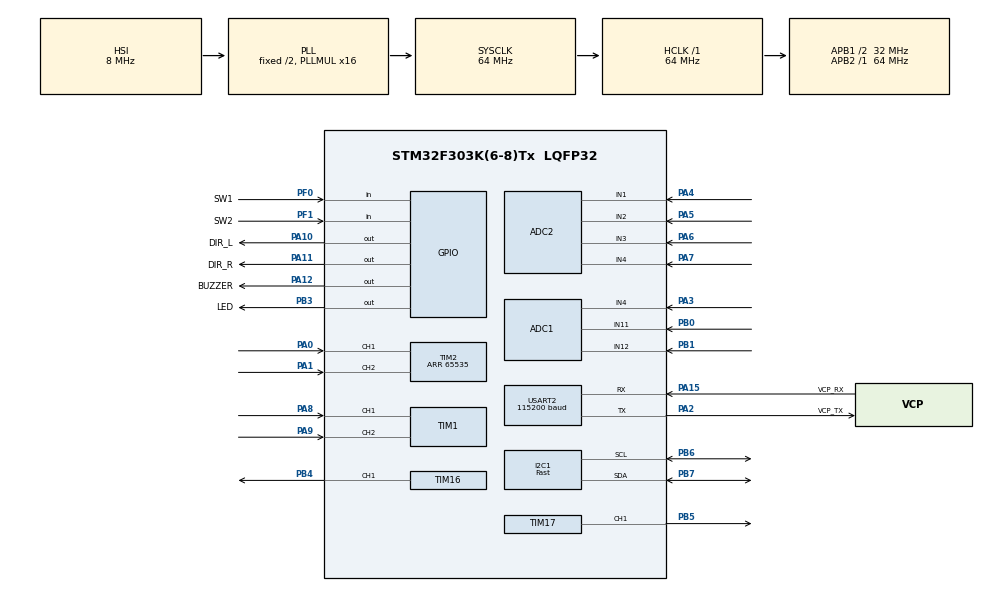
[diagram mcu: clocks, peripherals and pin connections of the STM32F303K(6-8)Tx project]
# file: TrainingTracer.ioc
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ADC1.Channel-0\#ChannelRegularConversion=ADC_CHANNEL_4
ADC1.Channel-1\#ChannelRegularConversion=ADC_CHANNEL_11
ADC1.Channel-2\#ChannelRegularConversion=ADC_CHANNEL_12
ADC1.ContinuousConvMode=DISABLE
ADC1.DMAContinuousRequests=ENABLE
ADC1.DiscontinuousConvMode=ENABLE
ADC1.ExternalTrigConv=ADC_EXTERNALTRIGCONV_T3_TRGO
ADC1.NbrOfConversion=3
ADC1.NbrOfConversionFlag=1
ADC1.NbrOfDiscConversion=3
ADC1.Offset-0\#ChannelRegularConversion=0
ADC1.Offset-1\#ChannelRegularConversion=0
ADC1.Offset-2\#ChannelRegularConversion=0
ADC1.OffsetNumber-0\#ChannelRegularConversion=ADC_OFFSET_NONE
ADC1.OffsetNumber-1\#ChannelRegularConversion=ADC_OFFSET_NONE
ADC1.OffsetNumber-2\#ChannelRegularConversion=ADC_OFFSET_NONE
ADC1.Rank-0\#ChannelRegularConversion=1
ADC1.Rank-1\#ChannelRegularConversion=2
ADC1.Rank-2\#ChannelRegularConversion=3
ADC1.SamplingTime-0\#ChannelRegularConversion=ADC_SAMPLETIME_4CYCLES_5
ADC1.SamplingTime-1\#ChannelRegularConversion=ADC_SAMPLETIME_4CYCLES_5
ADC1.SamplingTime-2\#ChannelRegularConversion=ADC_SAMPLETIME_4CYCLES_5
ADC1.SamplingTimeOPAMP-1\#ChannelRegularConversion=ADC_SAMPLETIME_61CYCLES_5
ADC1.SamplingTimeOPAMP-2\#ChannelRegularConversion=ADC_SAMPLETIME_61CYCLES_5
ADC1.SubFamily=STM32F303x8
ADC1.master=1
ADC2.Channel-0\#ChannelRegularConversion=ADC_CHANNEL_1
ADC2.Channel-1\#ChannelRegularConversion=ADC_CHANNEL_2
ADC2.Channel-2\#ChannelRegularConversion=ADC_CHANNEL_3
ADC2.Channel-3\#ChannelRegularConversion=ADC_CHANNEL_4
ADC2.DMAContinuousRequests=ENABLE
ADC2.DiscontinuousConvMode=ENABLE
ADC2.ExternalTrigConv=ADC_EXTERNALTRIGCONV_T3_TRGO
ADC2.NbrOfConversion=4
ADC2.NbrOfConversionFlag=1
ADC2.NbrOfDiscConversion=4
ADC2.Offset-0\#ChannelRegularConversion=0
ADC2.Offset-1\#ChannelRegularConversion=0
ADC2.Offset-2\#ChannelRegularConversion=0
ADC2.Offset-3\#ChannelRegularConversion=0
ADC2.OffsetNumber-0\#ChannelRegularConversion=ADC_OFFSET_NONE
ADC2.OffsetNumber-1\#ChannelRegularConversion=ADC_OFFSET_NONE
ADC2.OffsetNumber-2\#ChannelRegularConversion=ADC_OFFSET_NONE
ADC2.OffsetNumber-3\#ChannelRegularConversion=ADC_OFFSET_NONE
ADC2.Rank-0\#ChannelRegularConversion=1
ADC2.Rank-1\#ChannelRegularConversion=2
ADC2.Rank-2\#ChannelRegularConversion=3
ADC2.Rank-3\#ChannelRegularConversion=4
ADC2.SamplingTime-0\#ChannelRegularConversion=ADC_SAMPLETIME_4CYCLES_5
ADC2.SamplingTime-1\#ChannelRegularConversion=ADC_SAMPLETIME_4CYCLES_5
ADC2.SamplingTime-2\#ChannelRegularConversion=ADC_SAMPLETIME_4CYCLES_5
ADC2.SamplingTime-3\#ChannelRegularConversion=ADC_SAMPLETIME_4CYCLES_5
ADC2.SamplingTimeOPAMP-1\#ChannelRegularConversion=ADC_SAMPLETIME_61CYCLES_5
ADC2.SamplingTimeOPAMP-2\#ChannelRegularConversion=ADC_SAMPLETIME_61CYCLES_5
ADC2.SamplingTimeOPAMP-3\#ChannelRegularConversion=ADC_SAMPLETIME_61CYCLES_5
ADC2.SubFamily=STM32F303x8
Dma.ADC1.0.Direction=DMA_PERIPH_TO_MEMORY
Dma.ADC1.0.Instance=DMA1_Channel1
Dma.ADC1.0.MemDataAlignment=DMA_MDATAALIGN_HALFWORD
Dma.ADC1.0.MemInc=DMA_MINC_ENABLE
Dma.ADC1.0.Mode=DMA_CIRCULAR
Dma.ADC1.0.PeriphDataAlignment=DMA_PDATAALIGN_HALFWORD
Dma.ADC1.0.PeriphInc=DMA_PINC_DISABLE
Dma.ADC1.0.Priority=DMA_PRIORITY_LOW
Dma.ADC2.1.Direction=DMA_PERIPH_TO_MEMORY
Dma.ADC2.1.Instance=DMA1_Channel2
Dma.ADC2.1.MemDataAlignment=DMA_MDATAALIGN_HALFWORD
Dma.ADC2.1.MemInc=DMA_MINC_ENABLE
Dma.ADC2.1.Mode=DMA_CIRCULAR
Dma.ADC2.1.PeriphDataAlignment=DMA_PDATAALIGN_HALFWORD
Dma.ADC2.1.PeriphInc=DMA_PINC_DISABLE
Dma.ADC2.1.Priority=DMA_PRIORITY_LOW
Dma.I2C1_RX.2.Direction=DMA_PERIPH_TO_MEMORY
Dma.I2C1_RX.2.Instance=DMA1_Channel3
Dma.I2C1_RX.2.MemDataAlignment=DMA_MDATAALIGN_BYTE
Dma.I2C1_RX.2.MemInc=DMA_MINC_ENABLE
Dma.I2C1_RX.2.Mode=DMA_NORMAL
Dma.I2C1_RX.2.PeriphDataAlignment=DMA_PDATAALIGN_BYTE
Dma.I2C1_RX.2.PeriphInc=DMA_PINC_DISABLE
Dma.I2C1_RX.2.Priority=DMA_PRIORITY_LOW
Dma.I2C1_TX.3.Direction=DMA_MEMORY_TO_PERIPH
Dma.I2C1_TX.3.Instance=DMA1_Channel4
Dma.I2C1_TX.3.MemDataAlignment=DMA_MDATAALIGN_BYTE
Dma.I2C1_TX.3.MemInc=DMA_MINC_ENABLE
Dma.I2C1_TX.3.Mode=DMA_NORMAL
Dma.I2C1_TX.3.PeriphDataAlignment=DMA_PDATAALIGN_BYTE
Dma.I2C1_TX.3.PeriphInc=DMA_PINC_DISABLE
Dma.I2C1_TX.3.Priority=DMA_PRIORITY_LOW
Dma.Request0=ADC1
Dma.Request1=ADC2
Dma.Request2=I2C1_RX
Dma.Request3=I2C1_TX
I2C1.I2C_Speed_Mode=I2C_Fast
I2C1.Timing=0x0000020B
Mcu.Family=STM32F3
Mcu.Name=STM32F303K(6-8)Tx
Mcu.Package=LQFP32
NVIC.DMA1_Channel1_IRQn=true\:0\:0\:false\:false\:true\:false\:true\:true
NVIC.DMA1_Channel2_IRQn=true\:0\:0\:false\:false\:true\:false\:true\:true
NVIC.DMA1_Channel3_IRQn=true\:0\:0\:false\:false\:true\:false\:true\:true
NVIC.DMA1_Channel4_IRQn=true\:0\:0\:false\:false\:true\:false\:true\:true
NVIC.I2C1_EV_IRQn=true\:0\:0\:false\:false\:true\:true\:true\:true
NVIC.PriorityGroup=NVIC_PRIORITYGROUP_4
NVIC.TIM6_DAC1_IRQn=true\:0\:0\:false\:false\:true\:true\:true\:true
NVIC.TIM7_DAC2_IRQn=true\:0\:0\:false\:false\:true\:true\:true\:true
PA0.Signal=S_TIM2_CH1_ETR
PA1.Signal=S_TIM2_CH2
PA10.GPIO_Label=DIR_L
PA10.Signal=GPIO_Output
PA11.GPIO_Label=DIR_R
PA11.Signal=GPIO_Output
PA12.GPIO_Label=BUZZER
PA12.Signal=GPIO_Output
PA13.GPIO_Label=SWDIO
PA13.Mode=Serial_Wire
PA13.Signal=SYS_JTMS-SWDIO
PA14.GPIO_Label=SWCLK
PA14.Mode=Serial_Wire
PA14.Signal=SYS_JTCK-SWCLK
PA15.GPIO_Label=VCP_RX
PA15.Mode=Asynchronous
PA15.Signal=USART2_RX
PA2.GPIO_Label=VCP_TX
PA2.Mode=Asynchronous
PA2.Signal=USART2_TX
PA3.Mode=IN4-Single-Ended
PA3.Signal=ADC1_IN4
PA4.Mode=IN1-Single-Ended
PA4.Signal=ADC2_IN1
PA5.Mode=IN2-Single-Ended
PA5.Signal=ADC2_IN2
PA6.Mode=IN3-Single-Ended
PA6.Signal=ADC2_IN3
PA7.Mode=IN4-Single-Ended
PA7.Signal=ADC2_IN4
PA8.Signal=S_TIM1_CH1
PA9.Signal=S_TIM1_CH2
PB0.Mode=IN11-Single-Ended
PB0.Signal=ADC1_IN11
PB1.Mode=IN12-Single-Ended
PB1.Signal=ADC1_IN12
PB3.GPIO_Label=LED
PB3.Signal=GPIO_Output
PB4.Signal=S_TIM16_CH1
PB5.Signal=S_TIM17_CH1
PB6.Mode=I2C
PB6.Signal=I2C1_SCL
PB7.Mode=I2C
PB7.Signal=I2C1_SDA
PF0\ /\ OSC_IN.GPIO_Label=SW1
PF0\ /\ OSC_IN.GPIO_PuPd=GPIO_PULLUP
PF0\ /\ OSC_IN.Signal=GPIO_Input
PF1\ /\ OSC_OUT.GPIO_Label=SW2
PF1\ /\ OSC_OUT.GPIO_PuPd=GPIO_PULLUP
PF1\ /\ OSC_OUT.Signal=GPIO_Input
ProjectManager.HeapSize=0x200
ProjectManager.StackSize=0x400
ProjectManager.TargetToolchain=STM32CubeIDE
RCC.AHBFreq_Value=64000000
RCC.APB1CLKDivider=RCC_HCLK_DIV2
RCC.APB1Freq_Value=32000000
RCC.APB1TimFreq_Value=64000000
RCC.APB2Freq_Value=64000000
RCC.APB2TimFreq_Value=64000000
RCC.CortexFreq_Value=64000000
RCC.HCLKFreq_Value=64000000
RCC.HSE_VALUE=8000000
RCC.HSI_VALUE=8000000
RCC.PLLMUL=RCC_PLL_MUL16
RCC.SYSCLKFreq_VALUE=64000000
RCC.SYSCLKSourceVirtual=RCC_SYSCLKSOURCE_PLLCLK
SH.S_TIM16_CH1.0=TIM16_CH1,PWM Generation1 CH1
SH.S_TIM17_CH1.0=TIM17_CH1,PWM Generation1 CH1
SH.S_TIM1_CH1.0=TIM1_CH1,Encoder_Interface
SH.S_TIM1_CH2.0=TIM1_CH2,Encoder_Interface
SH.S_TIM2_CH1_ETR.0=TIM2_CH1,Encoder_Interface
SH.S_TIM2_CH2.0=TIM2_CH2,Encoder_Interface
TIM1.EncoderMode=TIM_ENCODERMODE_TI12
TIM16.AutoReloadPreload=TIM_AUTORELOAD_PRELOAD_ENABLE
TIM16.Channel=TIM_CHANNEL_1
TIM16.Period=3199
TIM16.Prescaler=0
TIM16.Pulse=0
TIM17.AutoReloadPreload=TIM_AUTORELOAD_PRELOAD_ENABLE
TIM17.Channel=TIM_CHANNEL_1
TIM17.Period=3199
TIM17.Prescaler=0
TIM17.Pulse=0
TIM2.EncoderMode=TIM_ENCODERMODE_TI12
TIM2.Period=65535
TIM3.AutoReloadPreload=TIM_AUTORELOAD_PRELOAD_ENABLE
TIM3.Period=999
TIM3.Prescaler=63
TIM3.TIM_MasterOutputTrigger=TIM_TRGO_UPDATE
TIM6.AutoReloadPreload=TIM_AUTORELOAD_PRELOAD_ENABLE
TIM6.Period=499
TIM6.Prescaler=63
TIM7.Period=9999
TIM7.Prescaler=63
USART2.BaudRate=115200
USART2.VirtualMode-Asynchronous=VM_ASYNC
VP_TIM16_VS_ClockSourceINT.Mode=Enable_Timer
VP_TIM17_VS_ClockSourceINT.Mode=Enable_Timer
VP_TIM3_VS_ClockSourceINT.Mode=Internal
VP_TIM6_VS_ClockSourceINT.Mode=Enable_Timer
VP_TIM7_VS_ClockSourceINT.Mode=Enable_Timer
board=NUCLEO-F303K8

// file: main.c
/* USER CODE BEGIN Header */
/**
  ******************************************************************************
  * @file           : main.c
  * @brief          : Main program body
  ******************************************************************************
  * @attention
  *
  * Copyright (c) 2020 RT Corporation
  * License: Apache License, Version 2.0
  * https://www.apache.org/licenses/LICENSE-2.0
  *
  * This file is licensed the Apache License, Version 2.0.
  * This file is based on the auto generated template .c file
  * released by STMicroelectronics licensed under the BSD 3-Clause License.
  *
  *=*=*=*=*=*=*=*=*=*=*=*=*=*=*=*=*=*=*=*=*=*=*=*=*=*=*=*=*=*=*=*=*=*=*=*=*=*=*
  * <h2><center>&copy; Copyright (c) 2020 STMicroelectronics.
  * All rights reserved.</center></h2>
  *
  * This software component is licensed by ST under BSD 3-Clause license,
  * the "License"; You may not use this file except in compliance with the
  * License. You may obtain a copy of the License at:
  *                        opensource.org/licenses/BSD-3-Clause
  *=*=*=*=*=*=*=*=*=*=*=*=*=*=*=*=*=*=*=*=*=*=*=*=*=*=*=*=*=*=*=*=*=*=*=*=*=*=*
  *
  ******************************************************************************
  */
/* USER CODE END Header */
#include "main.h"

/* USER CODE BEGIN Includes */
#include "BMX055.h"
#include "stdio.h"
#include "stdlib.h"
/* USER CODE END Includes */

/* USER CODE BEGIN PD */
#define CW_R 0
#define CCW_R 1
#define CW_L 1
#define CCW_L 0
/* USER CODE END PD */

ADC_HandleTypeDef hadc1;
ADC_HandleTypeDef hadc2;
DMA_HandleTypeDef hdma_adc1;
DMA_HandleTypeDef hdma_adc2;

I2C_HandleTypeDef hi2c1;
DMA_HandleTypeDef hdma_i2c1_rx;
DMA_HandleTypeDef hdma_i2c1_tx;

TIM_HandleTypeDef htim1;
TIM_HandleTypeDef htim2;
TIM_HandleTypeDef htim3;
TIM_HandleTypeDef htim6;
TIM_HandleTypeDef htim7;
TIM_HandleTypeDef htim16;
TIM_HandleTypeDef htim17;

UART_HandleTypeDef huart2;

void SystemClock_Config(void);
static void MX_GPIO_Init(void);
static void MX_DMA_Init(void);
static void MX_USART2_UART_Init(void);
static void MX_ADC1_Init(void);
static void MX_ADC2_Init(void);
static void MX_I2C1_Init(void);
static void MX_TIM1_Init(void);
static void MX_TIM2_Init(void);
static void MX_TIM16_Init(void);
static void MX_TIM17_Init(void);
static void MX_TIM3_Init(void);
static void MX_TIM6_Init(void);
static void MX_TIM7_Init(void);

/* USER CODE BEGIN 0 */
// Variable Declaration
long line_control;
short inside_offset = 0;
short outside_offset = 0;
short l2_value = 0;
short l1_value = 0;
short r1_value = 0;
short r2_value = 0;
short ml_value = 0;
short mr_value = 0;
short pw_value = 0;

char line_state = 0;
unsigned short encoder_r_cnt = 0;
unsigned short encoder_l_cnt = 0;

short pwm_r_value = 0;
short pwm_l_value = 0;

unsigned char I2C_state = 0;
short ADC1_data[10];
short ADC2_data[10];
short zGyro = 0;
float theta = 0;

short buzzer_it_cnt;
short buzzer_it_h_ms_cnt;
short buzzer_it_l_ms_cnt;
short buzzer_it_h_ms;
short buzzer_it_l_ms;

int __io_putchar(int ch)
{
  HAL_UART_Transmit(&huart2, (uint8_t *)&ch, 1, 0xFFFF);
  return ch;
}

void LED_Drive(char times, int high_ms, int low_ms)
{
  for (char i = 0; i < times; i++) {
    HAL_GPIO_WritePin(LED_GPIO_Port, LED_Pin, 1);
    HAL_Delay(high_ms);
    HAL_GPIO_WritePin(LED_GPIO_Port, LED_Pin, 0);
    HAL_Delay(low_ms);
  }
}

void Buzzer_Drive(char times, int high_ms, int low_ms)
{
  for (char i = 0; i < times; i++) {
    HAL_GPIO_WritePin(BUZZER_GPIO_Port, BUZZER_Pin, 1);  // ring buzzer
    HAL_Delay(100);                                      // wait for time
    HAL_GPIO_WritePin(BUZZER_GPIO_Port, BUZZER_Pin, 0);  // stop buzzer
    HAL_Delay(100);                                      // wait for time
  }
}

void Buzzer_Drive_IT(char times, int high_ms, int low_ms)
{
  buzzer_it_cnt = times;
  buzzer_it_h_ms = high_ms;
  buzzer_it_l_ms = low_ms;
  buzzer_it_h_ms_cnt = 0;
  buzzer_it_l_ms_cnt = 0;
}

int MarkerCheck(void)
{
  if (
    (mr_value > (r2_value * 0.169 + 2.7488 + 30)) &&
    (mr_value > 90)) {  //start-goal marker detection
    if (line_state == 0) {
      line_state = 1;
      return 1;
    } else if (line_state == 1) {
      line_state = 2;
      return 2;
    } else if (line_state == 2) {
      return 2;
    } else if (line_state == 3) {
      line_state = 7;
      return 7;
    } else if (line_state == 4) {
      line_state = 6;
      return 6;
    } else if (line_state == 5) {
      line_state = 6;
      return 6;
    } else if (line_state == 6) {
      line_state = 6;
      return 6;
    }
  }

  if (line_state == 1) {
    line_state = 3;
    return 3;
  }

  if (line_state == 2) {
    line_state = 3;
    return 3;
  }

  if (line_state == 6) {
    line_state = 3;
    return 3;
  }

  if (line_state == 3) {
    if ((r2_value + r1_value + l1_value + l2_value) > 2500) {  //cross line
      line_state = 4;                                          //cross line detection
      HAL_GPIO_WritePin(LED_GPIO_Port, LED_Pin, 1);
      return 4;
    }
  }
  if (line_state == 4) {
    if ((r2_value + r1_value + l1_value + l2_value) < 2000) {
      line_state = 5;
      HAL_GPIO_WritePin(LED_GPIO_Port, LED_Pin, 0);
      return 5;
    }
  }

  return line_state;
}

void HAL_TIM_PeriodElapsedCallback(TIM_HandleTypeDef * htim)
{
  if (htim == &htim6) {  //2kHz
    if ((I2C_state % 2) == 0) {
      zGyro = I2C1_BMX055_GetGyro16();
      theta = theta + (float)zGyro / 1000.0 / 16.4;
      I2C1_BMX055_zGyro();
    } else {
      I2C1_Read_NBytes(BMX055_Addr_Gyro, 2);
      //buzzer process
      if (buzzer_it_cnt > 0) {
        if (buzzer_it_h_ms_cnt < buzzer_it_h_ms) {
          HAL_GPIO_WritePin(BUZZER_GPIO_Port, BUZZER_Pin, 1);
          buzzer_it_h_ms_cnt++;
        } else if (buzzer_it_l_ms_cnt < buzzer_it_l_ms) {
          HAL_GPIO_WritePin(BUZZER_GPIO_Port, BUZZER_Pin, 0);
          buzzer_it_l_ms_cnt++;
        } else {
          buzzer_it_h_ms_cnt = 0;
          buzzer_it_l_ms_cnt = 0;
          buzzer_it_cnt--;
        }
      }
    }
    I2C_state++;
  }
  if (htim == &htim7) {  //100Hz
                         //PA3 ADC1_IN4  LR2
                         //PA4 ADC2_IN1  LR1
                         //PA5 ADC2_IN2  LL1
                         //PA6 ADC2_IN3  LL2
                         //PA7 ADC2_IN4  POWER
                         //PB0 ADC1_IN11 marker R
                         //PB1 ADC1_IN12 marker L
    r2_value = ADC1_data[0];
    mr_value = ADC1_data[1];
    ml_value = ADC1_data[2];
    r1_value = ADC2_data[0];
    l1_value = ADC2_data[1];
    l2_value = ADC2_data[2];
    pw_value = ADC2_data[3];

    MarkerCheck();
    if (line_state == 1) {
      //			Buzzer_Drive_IT(1,50,50);
    } else if (line_state == 7) {
      //			Buzzer_Drive_IT(2,50,50);
      //			runStop();
    }
    line_control =
      (l1_value - r1_value - inside_offset) + 2 * (l2_value - r2_value - outside_offset);

    pwm_l_value = 800 - line_control / 40;
    pwm_r_value = 800 + line_control / 40;

    //left motor PWM
    if (pwm_l_value < 0) {
      HAL_GPIO_WritePin(DIR_L_GPIO_Port, DIR_L_Pin, CCW_L);  //CCW
    } else {
      HAL_GPIO_WritePin(DIR_L_GPIO_Port, DIR_L_Pin, CW_L);  //CW
    }
    pwm_l_value = abs(pwm_l_value);
    if (pwm_l_value > 3199) {
      pwm_l_value = 3199;  //motor control limit
    }
    if (pwm_l_value <= 0) {
      pwm_l_value = 0;  //motor control limit
    }
    TIM16->CCR1 = pwm_l_value;

    //right motor PWM
    if (pwm_r_value < 0) {
      HAL_GPIO_WritePin(DIR_R_GPIO_Port, DIR_R_Pin, CCW_R);  //CCW
    } else {
      HAL_GPIO_WritePin(DIR_R_GPIO_Port, DIR_R_Pin, CW_R);  //CW
    }
    pwm_r_value = abs(pwm_r_value);
    if (pwm_r_value > 3199) {
      pwm_r_value = 3199;  //motor control limit
    }
    if (pwm_r_value <= 0) {
      pwm_r_value = 0;  //motor control limit
    }
    TIM17->CCR1 = pwm_r_value;
  }
}

/* USER CODE END 0 */

int main(void)
{

  /* MCU Configuration--------------------------------------------------------*/

  /* Reset of all peripherals, Initializes the Flash interface and the Systick. */
  HAL_Init();

  /* Configure the system clock */
  SystemClock_Config();

  /* Initialize all configured peripherals */
  MX_GPIO_Init();
  MX_DMA_Init();
  MX_USART2_UART_Init();
  MX_ADC1_Init();
  MX_ADC2_Init();
  MX_I2C1_Init();
  MX_TIM1_Init();
  MX_TIM2_Init();
  MX_TIM16_Init();
  MX_TIM17_Init();
  MX_TIM3_Init();
  MX_TIM6_Init();
  MX_TIM7_Init();
  /* USER CODE BEGIN 2 */

  //ADC開始
  HAL_ADC_Start_DMA(&hadc1, (uint32_t *)ADC1_data, 3);
  HAL_ADC_Start_DMA(&hadc2, (uint32_t *)ADC2_data, 4);
  HAL_TIM_Base_Start(&htim3);  //1kHz
                               //Encoder開始
  HAL_TIM_Encoder_Start(&htim1, TIM_CHANNEL_ALL);
  HAL_TIM_Encoder_Start(&htim2, TIM_CHANNEL_ALL);

  //BMX055
  I2C1_BMX055_Init();
  HAL_TIM_Base_Start_IT(&htim6);  //2kHz

  //PWM
  HAL_GPIO_WritePin(DIR_R_GPIO_Port, DIR_R_Pin, CW_R);  //CW
  HAL_GPIO_WritePin(DIR_L_GPIO_Port, DIR_L_Pin, CW_L);  //CW

  TIM16->CCR1 = 0;                            //PWM duty 0%
  TIM17->CCR1 = 0;                            //PWM duty 0%
  HAL_TIM_PWM_Start(&htim16, TIM_CHANNEL_1);  //左
  HAL_TIM_PWM_Start(&htim17, TIM_CHANNEL_1);  //右

  //変数の初期化
  buzzer_it_cnt = 0;
  TIM1->CNT = 0;
  TIM2->CNT = 0;

  LED_Drive(2, 100, 100);

  int i = 0;

  while (1) {
    if (HAL_GPIO_ReadPin(SW2_GPIO_Port, SW2_Pin) == 0) {
      Buzzer_Drive_IT(1, 100, 100);
      while (1) {
        printf("%d Hello World!!\r\n", i++);
        printf("ADC1 %d %d %d\n\r", ADC1_data[0], ADC1_data[1], ADC1_data[2]);
        printf("ADC2 %d %d %d %d\n\r", ADC2_data[0], ADC2_data[1], ADC2_data[2], ADC2_data[3]);
        printf("Encoder %ld %ld\n\r", TIM1->CNT, TIM2->CNT);  //左、右
        printf("theta=%d %d\n\r", (int)(theta * 100), zGyro);
        HAL_Delay(300);
        if (HAL_GPIO_ReadPin(SW2_GPIO_Port, SW2_Pin) == 0) {
          HAL_Delay(200);
          break;
        }
      }
    }
    if (HAL_GPIO_ReadPin(SW1_GPIO_Port, SW1_Pin) == 0) {
      Buzzer_Drive(2, 70, 70);
      //制御周期割り込み
      HAL_TIM_Base_Start_IT(&htim7);  //100Hz
      break;
    }
  }
  /* USER CODE END 2 */

  /* Infinite loop */
  /* USER CODE BEGIN WHILE */
  while (1) {
    //	  HAL_GPIO_TogglePin(LED_GPIO_Port,LED_Pin);
    /* USER CODE END WHILE */

  }
}

void SystemClock_Config(void)
{
  RCC_OscInitTypeDef RCC_OscInitStruct = {0};
  RCC_ClkInitTypeDef RCC_ClkInitStruct = {0};
  RCC_PeriphCLKInitTypeDef PeriphClkInit = {0};

  /** Initializes the RCC Oscillators according to the specified parameters
  * in the RCC_OscInitTypeDef structure.
  */
  RCC_OscInitStruct.OscillatorType = RCC_OSCILLATORTYPE_HSI;
  RCC_OscInitStruct.HSIState = RCC_HSI_ON;
  RCC_OscInitStruct.HSICalibrationValue = RCC_HSICALIBRATION_DEFAULT;
  RCC_OscInitStruct.PLL.PLLState = RCC_PLL_ON;
  RCC_OscInitStruct.PLL.PLLSource = RCC_PLLSOURCE_HSI;
  RCC_OscInitStruct.PLL.PLLMUL = RCC_PLL_MUL16;
  if (HAL_RCC_OscConfig(&RCC_OscInitStruct) != HAL_OK) {
    Error_Handler();
  }

  /** Initializes the CPU, AHB and APB buses clocks
  */
  RCC_ClkInitStruct.ClockType =
    RCC_CLOCKTYPE_HCLK | RCC_CLOCKTYPE_SYSCLK | RCC_CLOCKTYPE_PCLK1 | RCC_CLOCKTYPE_PCLK2;
  RCC_ClkInitStruct.SYSCLKSource = RCC_SYSCLKSOURCE_PLLCLK;
  RCC_ClkInitStruct.AHBCLKDivider = RCC_SYSCLK_DIV1;
  RCC_ClkInitStruct.APB1CLKDivider = RCC_HCLK_DIV2;
  RCC_ClkInitStruct.APB2CLKDivider = RCC_HCLK_DIV1;

  if (HAL_RCC_ClockConfig(&RCC_ClkInitStruct, FLASH_LATENCY_2) != HAL_OK) {
    Error_Handler();
  }
  PeriphClkInit.PeriphClockSelection =
    RCC_PERIPHCLK_I2C1 | RCC_PERIPHCLK_TIM1 | RCC_PERIPHCLK_ADC12;
  PeriphClkInit.Adc12ClockSelection = RCC_ADC12PLLCLK_DIV1;
  PeriphClkInit.I2c1ClockSelection = RCC_I2C1CLKSOURCE_HSI;
  PeriphClkInit.Tim1ClockSelection = RCC_TIM1CLK_HCLK;
  if (HAL_RCCEx_PeriphCLKConfig(&PeriphClkInit) != HAL_OK) {
    Error_Handler();
  }
}

static void MX_ADC1_Init(void)
{

  ADC_MultiModeTypeDef multimode = {0};
  ADC_ChannelConfTypeDef sConfig = {0};

  /** Common config
  */
  hadc1.Instance = ADC1;
  hadc1.Init.ClockPrescaler = ADC_CLOCK_ASYNC_DIV1;
  hadc1.Init.Resolution = ADC_RESOLUTION_12B;
  hadc1.Init.ScanConvMode = ADC_SCAN_ENABLE;
  hadc1.Init.ContinuousConvMode = DISABLE;
  hadc1.Init.DiscontinuousConvMode = ENABLE;
  hadc1.Init.NbrOfDiscConversion = 3;
  hadc1.Init.ExternalTrigConvEdge = ADC_EXTERNALTRIGCONVEDGE_RISING;
  hadc1.Init.ExternalTrigConv = ADC_EXTERNALTRIGCONV_T3_TRGO;
  hadc1.Init.DataAlign = ADC_DATAALIGN_RIGHT;
  hadc1.Init.NbrOfConversion = 3;
  hadc1.Init.DMAContinuousRequests = ENABLE;
  hadc1.Init.EOCSelection = ADC_EOC_SINGLE_CONV;
  hadc1.Init.LowPowerAutoWait = DISABLE;
  hadc1.Init.Overrun = ADC_OVR_DATA_OVERWRITTEN;
  if (HAL_ADC_Init(&hadc1) != HAL_OK) {
    Error_Handler();
  }

  /** Configure the ADC multi-mode
  */
  multimode.Mode = ADC_MODE_INDEPENDENT;
  if (HAL_ADCEx_MultiModeConfigChannel(&hadc1, &multimode) != HAL_OK) {
    Error_Handler();
  }

  /** Configure Regular Channel
  */
  sConfig.Channel = ADC_CHANNEL_4;
  sConfig.Rank = ADC_REGULAR_RANK_1;
  sConfig.SingleDiff = ADC_SINGLE_ENDED;
  sConfig.SamplingTime = ADC_SAMPLETIME_4CYCLES_5;
  sConfig.OffsetNumber = ADC_OFFSET_NONE;
  sConfig.Offset = 0;
  if (HAL_ADC_ConfigChannel(&hadc1, &sConfig) != HAL_OK) {
    Error_Handler();
  }

  /** Configure Regular Channel
  */
  sConfig.Channel = ADC_CHANNEL_11;
  sConfig.Rank = ADC_REGULAR_RANK_2;
  if (HAL_ADC_ConfigChannel(&hadc1, &sConfig) != HAL_OK) {
    Error_Handler();
  }

  /** Configure Regular Channel
  */
  sConfig.Channel = ADC_CHANNEL_12;
  sConfig.Rank = ADC_REGULAR_RANK_3;
  if (HAL_ADC_ConfigChannel(&hadc1, &sConfig) != HAL_OK) {
    Error_Handler();
  }
}

static void MX_ADC2_Init(void)
{

  ADC_ChannelConfTypeDef sConfig = {0};

  /** Common config
  */
  hadc2.Instance = ADC2;
  hadc2.Init.ClockPrescaler = ADC_CLOCK_ASYNC_DIV1;
  hadc2.Init.Resolution = ADC_RESOLUTION_12B;
  hadc2.Init.ScanConvMode = ADC_SCAN_ENABLE;
  hadc2.Init.ContinuousConvMode = DISABLE;
  hadc2.Init.DiscontinuousConvMode = ENABLE;
  hadc2.Init.NbrOfDiscConversion = 4;
  hadc2.Init.ExternalTrigConvEdge = ADC_EXTERNALTRIGCONVEDGE_RISING;
  hadc2.Init.ExternalTrigConv = ADC_EXTERNALTRIGCONV_T3_TRGO;
  hadc2.Init.DataAlign = ADC_DATAALIGN_RIGHT;
  hadc2.Init.NbrOfConversion = 4;
  hadc2.Init.DMAContinuousRequests = ENABLE;
  hadc2.Init.EOCSelection = ADC_EOC_SINGLE_CONV;
  hadc2.Init.LowPowerAutoWait = DISABLE;
  hadc2.Init.Overrun = ADC_OVR_DATA_OVERWRITTEN;
  if (HAL_ADC_Init(&hadc2) != HAL_OK) {
    Error_Handler();
  }

  /** Configure Regular Channel
  */
  sConfig.Channel = ADC_CHANNEL_1;
  sConfig.Rank = ADC_REGULAR_RANK_1;
  sConfig.SingleDiff = ADC_SINGLE_ENDED;
  sConfig.SamplingTime = ADC_SAMPLETIME_4CYCLES_5;
  sConfig.OffsetNumber = ADC_OFFSET_NONE;
  sConfig.Offset = 0;
  if (HAL_ADC_ConfigChannel(&hadc2, &sConfig) != HAL_OK) {
    Error_Handler();
  }

  /** Configure Regular Channel
  */
  sConfig.Channel = ADC_CHANNEL_2;
  sConfig.Rank = ADC_REGULAR_RANK_2;
  if (HAL_ADC_ConfigChannel(&hadc2, &sConfig) != HAL_OK) {
    Error_Handler();
  }

  /** Configure Regular Channel
  */
  sConfig.Channel = ADC_CHANNEL_3;
  sConfig.Rank = ADC_REGULAR_RANK_3;
  if (HAL_ADC_ConfigChannel(&hadc2, &sConfig) != HAL_OK) {
    Error_Handler();
  }

  /** Configure Regular Channel
  */
  sConfig.Channel = ADC_CHANNEL_4;
  sConfig.Rank = ADC_REGULAR_RANK_4;
  if (HAL_ADC_ConfigChannel(&hadc2, &sConfig) != HAL_OK) {
    Error_Handler();
  }
}

static void MX_I2C1_Init(void)
{

  hi2c1.Instance = I2C1;
  hi2c1.Init.Timing = 0x0000020B;
  hi2c1.Init.OwnAddress1 = 0;
  hi2c1.Init.AddressingMode = I2C_ADDRESSINGMODE_7BIT;
  hi2c1.Init.DualAddressMode = I2C_DUALADDRESS_DISABLE;
  hi2c1.Init.OwnAddress2 = 0;
  hi2c1.Init.OwnAddress2Masks = I2C_OA2_NOMASK;
  hi2c1.Init.GeneralCallMode = I2C_GENERALCALL_DISABLE;
  hi2c1.Init.NoStretchMode = I2C_NOSTRETCH_DISABLE;
  if (HAL_I2C_Init(&hi2c1) != HAL_OK) {
    Error_Handler();
  }

  /** Configure Analogue filter
  */
  if (HAL_I2CEx_ConfigAnalogFilter(&hi2c1, I2C_ANALOGFILTER_ENABLE) != HAL_OK) {
    Error_Handler();
  }

  /** Configure Digital filter
  */
  if (HAL_I2CEx_ConfigDigitalFilter(&hi2c1, 0) != HAL_OK) {
    Error_Handler();
  }
}

static void MX_TIM1_Init(void)
{

  TIM_Encoder_InitTypeDef sConfig = {0};
  TIM_MasterConfigTypeDef sMasterConfig = {0};

  htim1.Instance = TIM1;
  htim1.Init.Prescaler = 0;
  htim1.Init.CounterMode = TIM_COUNTERMODE_UP;
  htim1.Init.Period = 65535;
  htim1.Init.ClockDivision = TIM_CLOCKDIVISION_DIV1;
  htim1.Init.RepetitionCounter = 0;
  htim1.Init.AutoReloadPreload = TIM_AUTORELOAD_PRELOAD_DISABLE;
  sConfig.EncoderMode = TIM_ENCODERMODE_TI12;
  sConfig.IC1Polarity = TIM_ICPOLARITY_RISING;
  sConfig.IC1Selection = TIM_ICSELECTION_DIRECTTI;
  sConfig.IC1Prescaler = TIM_ICPSC_DIV1;
  sConfig.IC1Filter = 0;
  sConfig.IC2Polarity = TIM_ICPOLARITY_RISING;
  sConfig.IC2Selection = TIM_ICSELECTION_DIRECTTI;
  sConfig.IC2Prescaler = TIM_ICPSC_DIV1;
  sConfig.IC2Filter = 0;
  if (HAL_TIM_Encoder_Init(&htim1, &sConfig) != HAL_OK) {
    Error_Handler();
  }
  sMasterConfig.MasterOutputTrigger = TIM_TRGO_RESET;
  sMasterConfig.MasterOutputTrigger2 = TIM_TRGO2_RESET;
  sMasterConfig.MasterSlaveMode = TIM_MASTERSLAVEMODE_DISABLE;
  if (HAL_TIMEx_MasterConfigSynchronization(&htim1, &sMasterConfig) != HAL_OK) {
    Error_Handler();
  }
}

static void MX_TIM2_Init(void)
{

  TIM_Encoder_InitTypeDef sConfig = {0};
  TIM_MasterConfigTypeDef sMasterConfig = {0};

  htim2.Instance = TIM2;
  htim2.Init.Prescaler = 0;
  htim2.Init.CounterMode = TIM_COUNTERMODE_UP;
  htim2.Init.Period = 65535;
  htim2.Init.ClockDivision = TIM_CLOCKDIVISION_DIV1;
  htim2.Init.AutoReloadPreload = TIM_AUTORELOAD_PRELOAD_DISABLE;
  sConfig.EncoderMode = TIM_ENCODERMODE_TI12;
  sConfig.IC1Polarity = TIM_ICPOLARITY_RISING;
  sConfig.IC1Selection = TIM_ICSELECTION_DIRECTTI;
  sConfig.IC1Prescaler = TIM_ICPSC_DIV1;
  sConfig.IC1Filter = 0;
  sConfig.IC2Polarity = TIM_ICPOLARITY_RISING;
  sConfig.IC2Selection = TIM_ICSELECTION_DIRECTTI;
  sConfig.IC2Prescaler = TIM_ICPSC_DIV1;
  sConfig.IC2Filter = 0;
  if (HAL_TIM_Encoder_Init(&htim2, &sConfig) != HAL_OK) {
    Error_Handler();
  }
  sMasterConfig.MasterOutputTrigger = TIM_TRGO_RESET;
  sMasterConfig.MasterSlaveMode = TIM_MASTERSLAVEMODE_DISABLE;
  if (HAL_TIMEx_MasterConfigSynchronization(&htim2, &sMasterConfig) != HAL_OK) {
    Error_Handler();
  }
}

static void MX_TIM3_Init(void)
{

  TIM_ClockConfigTypeDef sClockSourceConfig = {0};
  TIM_MasterConfigTypeDef sMasterConfig = {0};

  htim3.Instance = TIM3;
  htim3.Init.Prescaler = 63;
  htim3.Init.CounterMode = TIM_COUNTERMODE_UP;
  htim3.Init.Period = 999;
  htim3.Init.ClockDivision = TIM_CLOCKDIVISION_DIV1;
  htim3.Init.AutoReloadPreload = TIM_AUTORELOAD_PRELOAD_ENABLE;
  if (HAL_TIM_Base_Init(&htim3) != HAL_OK) {
    Error_Handler();
  }
  sClockSourceConfig.ClockSource = TIM_CLOCKSOURCE_INTERNAL;
  if (HAL_TIM_ConfigClockSource(&htim3, &sClockSourceConfig) != HAL_OK) {
    Error_Handler();
  }
  sMasterConfig.MasterOutputTrigger = TIM_TRGO_UPDATE;
  sMasterConfig.MasterSlaveMode = TIM_MASTERSLAVEMODE_DISABLE;
  if (HAL_TIMEx_MasterConfigSynchronization(&htim3, &sMasterConfig) != HAL_OK) {
    Error_Handler();
  }
}

static void MX_TIM6_Init(void)
{

  TIM_MasterConfigTypeDef sMasterConfig = {0};

  htim6.Instance = TIM6;
  htim6.Init.Prescaler = 63;
  htim6.Init.CounterMode = TIM_COUNTERMODE_UP;
  htim6.Init.Period = 499;
  htim6.Init.AutoReloadPreload = TIM_AUTORELOAD_PRELOAD_ENABLE;
  if (HAL_TIM_Base_Init(&htim6) != HAL_OK) {
    Error_Handler();
  }
  sMasterConfig.MasterOutputTrigger = TIM_TRGO_RESET;
  sMasterConfig.MasterSlaveMode = TIM_MASTERSLAVEMODE_DISABLE;
  if (HAL_TIMEx_MasterConfigSynchronization(&htim6, &sMasterConfig) != HAL_OK) {
    Error_Handler();
  }
}

static void MX_TIM7_Init(void)
{

  TIM_MasterConfigTypeDef sMasterConfig = {0};

  htim7.Instance = TIM7;
  htim7.Init.Prescaler = 63;
  htim7.Init.CounterMode = TIM_COUNTERMODE_UP;
  htim7.Init.Period = 9999;
  htim7.Init.AutoReloadPreload = TIM_AUTORELOAD_PRELOAD_DISABLE;
  if (HAL_TIM_Base_Init(&htim7) != HAL_OK) {
    Error_Handler();
  }
  sMasterConfig.MasterOutputTrigger = TIM_TRGO_RESET;
  sMasterConfig.MasterSlaveMode = TIM_MASTERSLAVEMODE_DISABLE;
  if (HAL_TIMEx_MasterConfigSynchronization(&htim7, &sMasterConfig) != HAL_OK) {
    Error_Handler();
  }
}

static void MX_TIM16_Init(void)
{

  TIM_OC_InitTypeDef sConfigOC = {0};
  TIM_BreakDeadTimeConfigTypeDef sBreakDeadTimeConfig = {0};

  htim16.Instance = TIM16;
  htim16.Init.Prescaler = 0;
  htim16.Init.CounterMode = TIM_COUNTERMODE_UP;
  htim16.Init.Period = 3199;
  htim16.Init.ClockDivision = TIM_CLOCKDIVISION_DIV1;
  htim16.Init.RepetitionCounter = 0;
  htim16.Init.AutoReloadPreload = TIM_AUTORELOAD_PRELOAD_ENABLE;
  if (HAL_TIM_Base_Init(&htim16) != HAL_OK) {
    Error_Handler();
  }
  if (HAL_TIM_PWM_Init(&htim16) != HAL_OK) {
    Error_Handler();
  }
  sConfigOC.OCMode = TIM_OCMODE_PWM1;
  sConfigOC.Pulse = 0;
  sConfigOC.OCPolarity = TIM_OCPOLARITY_HIGH;
  sConfigOC.OCNPolarity = TIM_OCNPOLARITY_HIGH;
  sConfigOC.OCFastMode = TIM_OCFAST_DISABLE;
  sConfigOC.OCIdleState = TIM_OCIDLESTATE_RESET;
  sConfigOC.OCNIdleState = TIM_OCNIDLESTATE_RESET;
  if (HAL_TIM_PWM_ConfigChannel(&htim16, &sConfigOC, TIM_CHANNEL_1) != HAL_OK) {
    Error_Handler();
  }
  sBreakDeadTimeConfig.OffStateRunMode = TIM_OSSR_DISABLE;
  sBreakDeadTimeConfig.OffStateIDLEMode = TIM_OSSI_DISABLE;
  sBreakDeadTimeConfig.LockLevel = TIM_LOCKLEVEL_OFF;
  sBreakDeadTimeConfig.DeadTime = 0;
  sBreakDeadTimeConfig.BreakState = TIM_BREAK_DISABLE;
  sBreakDeadTimeConfig.BreakPolarity = TIM_BREAKPOLARITY_HIGH;
  sBreakDeadTimeConfig.BreakFilter = 0;
  sBreakDeadTimeConfig.AutomaticOutput = TIM_AUTOMATICOUTPUT_DISABLE;
  if (HAL_TIMEx_ConfigBreakDeadTime(&htim16, &sBreakDeadTimeConfig) != HAL_OK) {
    Error_Handler();
  }
  HAL_TIM_MspPostInit(&htim16);
}

static void MX_TIM17_Init(void)
{

  TIM_OC_InitTypeDef sConfigOC = {0};
  TIM_BreakDeadTimeConfigTypeDef sBreakDeadTimeConfig = {0};

  htim17.Instance = TIM17;
  htim17.Init.Prescaler = 0;
  htim17.Init.CounterMode = TIM_COUNTERMODE_UP;
  htim17.Init.Period = 3199;
  htim17.Init.ClockDivision = TIM_CLOCKDIVISION_DIV1;
  htim17.Init.RepetitionCounter = 0;
  htim17.Init.AutoReloadPreload = TIM_AUTORELOAD_PRELOAD_ENABLE;
  if (HAL_TIM_Base_Init(&htim17) != HAL_OK) {
    Error_Handler();
  }
  if (HAL_TIM_PWM_Init(&htim17) != HAL_OK) {
    Error_Handler();
  }
  sConfigOC.OCMode = TIM_OCMODE_PWM1;
  sConfigOC.Pulse = 0;
  sConfigOC.OCPolarity = TIM_OCPOLARITY_HIGH;
  sConfigOC.OCNPolarity = TIM_OCNPOLARITY_HIGH;
  sConfigOC.OCFastMode = TIM_OCFAST_DISABLE;
  sConfigOC.OCIdleState = TIM_OCIDLESTATE_RESET;
  sConfigOC.OCNIdleState = TIM_OCNIDLESTATE_RESET;
  if (HAL_TIM_PWM_ConfigChannel(&htim17, &sConfigOC, TIM_CHANNEL_1) != HAL_OK) {
    Error_Handler();
  }
  sBreakDeadTimeConfig.OffStateRunMode = TIM_OSSR_DISABLE;
  sBreakDeadTimeConfig.OffStateIDLEMode = TIM_OSSI_DISABLE;
  sBreakDeadTimeConfig.LockLevel = TIM_LOCKLEVEL_OFF;
  sBreakDeadTimeConfig.DeadTime = 0;
  sBreakDeadTimeConfig.BreakState = TIM_BREAK_DISABLE;
  sBreakDeadTimeConfig.BreakPolarity = TIM_BREAKPOLARITY_HIGH;
  sBreakDeadTimeConfig.BreakFilter = 0;
  sBreakDeadTimeConfig.AutomaticOutput = TIM_AUTOMATICOUTPUT_DISABLE;
  if (HAL_TIMEx_ConfigBreakDeadTime(&htim17, &sBreakDeadTimeConfig) != HAL_OK) {
    Error_Handler();
  }
  HAL_TIM_MspPostInit(&htim17);
}

static void MX_USART2_UART_Init(void)
{

  huart2.Instance = USART2;
  huart2.Init.BaudRate = 115200;
  huart2.Init.WordLength = UART_WORDLENGTH_8B;
  huart2.Init.StopBits = UART_STOPBITS_1;
  huart2.Init.Parity = UART_PARITY_NONE;
  huart2.Init.Mode = UART_MODE_TX_RX;
  huart2.Init.HwFlowCtl = UART_HWCONTROL_NONE;
  huart2.Init.OverSampling = UART_OVERSAMPLING_16;
  huart2.Init.OneBitSampling = UART_ONE_BIT_SAMPLE_DISABLE;
  huart2.AdvancedInit.AdvFeatureInit = UART_ADVFEATURE_NO_INIT;
  if (HAL_UART_Init(&huart2) != HAL_OK) {
    Error_Handler();
  }
}

static void MX_DMA_Init(void)
{
  /* DMA controller clock enable */
  __HAL_RCC_DMA1_CLK_ENABLE();

  /* DMA interrupt init */
  /* DMA1_Channel1_IRQn interrupt configuration */
  HAL_NVIC_SetPriority(DMA1_Channel1_IRQn, 0, 0);
  HAL_NVIC_EnableIRQ(DMA1_Channel1_IRQn);
  /* DMA1_Channel2_IRQn interrupt configuration */
  HAL_NVIC_SetPriority(DMA1_Channel2_IRQn, 0, 0);
  HAL_NVIC_EnableIRQ(DMA1_Channel2_IRQn);
  /* DMA1_Channel3_IRQn interrupt configuration */
  HAL_NVIC_SetPriority(DMA1_Channel3_IRQn, 0, 0);
  HAL_NVIC_EnableIRQ(DMA1_Channel3_IRQn);
  /* DMA1_Channel4_IRQn interrupt configuration */
  HAL_NVIC_SetPriority(DMA1_Channel4_IRQn, 0, 0);
  HAL_NVIC_EnableIRQ(DMA1_Channel4_IRQn);
}

static void MX_GPIO_Init(void)
{
  GPIO_InitTypeDef GPIO_InitStruct = {0};

  /* GPIO Ports Clock Enable */
  __HAL_RCC_GPIOF_CLK_ENABLE();
  __HAL_RCC_GPIOA_CLK_ENABLE();
  __HAL_RCC_GPIOB_CLK_ENABLE();

  /*Configure GPIO pin Output Level */
  HAL_GPIO_WritePin(GPIOA, DIR_L_Pin | DIR_R_Pin | BUZZER_Pin, GPIO_PIN_RESET);

  /*Configure GPIO pin Output Level */
  HAL_GPIO_WritePin(LED_GPIO_Port, LED_Pin, GPIO_PIN_RESET);

  /*Configure GPIO pins : SW1_Pin SW2_Pin */
  GPIO_InitStruct.Pin = SW1_Pin | SW2_Pin;
  GPIO_InitStruct.Mode = GPIO_MODE_INPUT;
  GPIO_InitStruct.Pull = GPIO_PULLUP;
  HAL_GPIO_Init(GPIOF, &GPIO_InitStruct);

  /*Configure GPIO pins : DIR_L_Pin DIR_R_Pin BUZZER_Pin */
  GPIO_InitStruct.Pin = DIR_L_Pin | DIR_R_Pin | BUZZER_Pin;
  GPIO_InitStruct.Mode = GPIO_MODE_OUTPUT_PP;
  GPIO_InitStruct.Pull = GPIO_NOPULL;
  GPIO_InitStruct.Speed = GPIO_SPEED_FREQ_LOW;
  HAL_GPIO_Init(GPIOA, &GPIO_InitStruct);

  /*Configure GPIO pin : LED_Pin */
  GPIO_InitStruct.Pin = LED_Pin;
  GPIO_InitStruct.Mode = GPIO_MODE_OUTPUT_PP;
  GPIO_InitStruct.Pull = GPIO_NOPULL;
  GPIO_InitStruct.Speed = GPIO_SPEED_FREQ_LOW;
  HAL_GPIO_Init(LED_GPIO_Port, &GPIO_InitStruct);

}

void Error_Handler(void)
{
}
